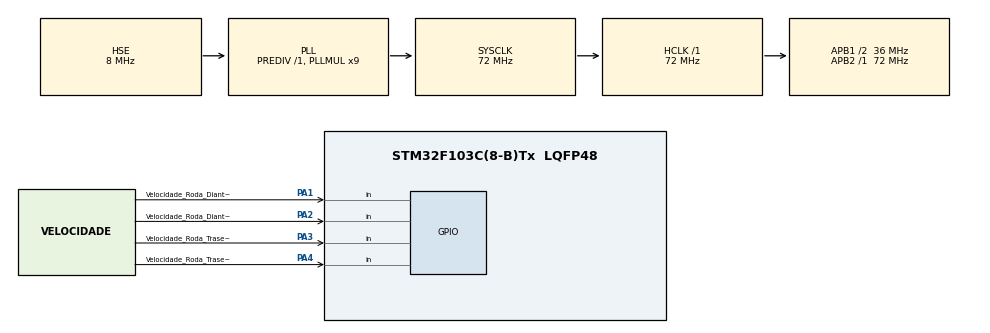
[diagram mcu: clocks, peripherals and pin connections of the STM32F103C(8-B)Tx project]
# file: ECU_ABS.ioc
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Mcu.Family=STM32F1
Mcu.Name=STM32F103C(8-B)Tx
Mcu.Package=LQFP48
NVIC.PriorityGroup=NVIC_PRIORITYGROUP_4
PA0-WKUP.GPIO_Label=PWM
PA0-WKUP.Signal=S_TIM2_CH1_ETR
PA1.GPIO_Label=Velocidade_Roda_Dianteira_Esq
PA1.GPIO_PuPd=GPIO_PULLUP
PA1.Signal=GPIO_Input
PA13.Mode=Serial_Wire
PA13.Signal=SYS_JTMS-SWDIO
PA14.Mode=Serial_Wire
PA14.Signal=SYS_JTCK-SWCLK
PA2.GPIO_Label=Velocidade_Roda_Dianteira_Dir
PA2.GPIO_PuPd=GPIO_PULLUP
PA2.Signal=GPIO_Input
PA3.GPIO_Label=Velocidade_Roda_Traseira_Esq
PA3.GPIO_PuPd=GPIO_PULLUP
PA3.Signal=GPIO_Input
PA4.GPIO_Label=Velocidade_Roda_Traseira_Dir
PA4.GPIO_PuPd=GPIO_PULLUP
PA4.Signal=GPIO_Input
PD0-OSC_IN.Mode=HSE-External-Oscillator
PD0-OSC_IN.Signal=RCC_OSC_IN
PD1-OSC_OUT.Mode=HSE-External-Oscillator
PD1-OSC_OUT.Signal=RCC_OSC_OUT
ProjectManager.HeapSize=0x200
ProjectManager.StackSize=0x400
ProjectManager.TargetToolchain=STM32CubeIDE
RCC.AHBFreq_Value=72000000
RCC.APB1CLKDivider=RCC_HCLK_DIV2
RCC.APB1Freq_Value=36000000
RCC.APB1TimFreq_Value=72000000
RCC.APB2Freq_Value=72000000
RCC.APB2TimFreq_Value=72000000
RCC.HCLKFreq_Value=72000000
RCC.PLLMUL=RCC_PLL_MUL9
RCC.PLLSourceVirtual=RCC_PLLSOURCE_HSE
RCC.SYSCLKFreq_VALUE=72000000
RCC.SYSCLKSource=RCC_SYSCLKSOURCE_PLLCLK
RCC.USBFreq_Value=72000000
SH.S_TIM2_CH1_ETR.0=TIM2_CH1
TIM2.Period=49
TIM2.Prescaler=7199
VP_TIM2_VS_ClockSourceINT.Mode=Internal
board=custom

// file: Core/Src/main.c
/* USER CODE BEGIN Header */
/**
  ******************************************************************************
  * @file           : main.c
  * @brief          : Main program body
  ******************************************************************************
  * @attention
  *
  * Copyright (c) 2025 STMicroelectronics.
  * All rights reserved.
  *
  * This software is licensed under terms that can be found in the LICENSE file
  * in the root directory of this software component.
  * If no LICENSE file comes with this software, it is provided AS-IS.
  *
  ******************************************************************************
  */
/* USER CODE END Header */
#include "main.h"

TIM_HandleTypeDef htim2;

/* USER CODE BEGIN PV */
/* USER CODE BEGIN PV */
float velocidade_roda[4];
float velocidade_veiculo;
float slip[4];
int ativar_abs = 0;
uint32_t pwm_duty_cycle;
/* USER CODE END PV */

void SystemClock_Config(void);
static void MX_GPIO_Init(void);
static void MX_TIM2_Init(void);

int main(void)
{

  /* MCU Configuration--------------------------------------------------------*/

  /* Reset of all peripherals, Initializes the Flash interface and the Systick. */
  HAL_Init();

  /* Configure the system clock */
  SystemClock_Config();

  /* Initialize all configured peripherals */
  MX_GPIO_Init();
  MX_TIM2_Init();
  /* USER CODE BEGIN 2 */
  /* USER CODE BEGIN 2 */
  HAL_TIM_PWM_Start(&htim2, TIM_CHANNEL_1);
  // Configura o duty cycle inicial para 90% (pressão normal)
  // O valor 45 e 15 e baseado em um periodo de 50.
  __HAL_TIM_SET_COMPARE(&htim2, TIM_CHANNEL_1, 45);
  /* USER CODE END 2 */

  /* Infinite loop */

  /* USER CODE BEGIN WHILE */
  while (1)
  {
      // --- Leitura das entradas dos botões usando os nomes gerados pelo CubeIDE ---
      GPIO_PinState estado_roda_de = HAL_GPIO_ReadPin(Velocidade_Roda_Dianteira_Esq_GPIO_Port, Velocidade_Roda_Dianteira_Esq_Pin);
      GPIO_PinState estado_roda_dd = HAL_GPIO_ReadPin(Velocidade_Roda_Dianteira_Dir_GPIO_Port, Velocidade_Roda_Dianteira_Dir_Pin);
      GPIO_PinState estado_roda_te = HAL_GPIO_ReadPin(Velocidade_Roda_Traseira_Esq_GPIO_Port, Velocidade_Roda_Traseira_Esq_Pin);
      GPIO_PinState estado_roda_td = HAL_GPIO_ReadPin(Velocidade_Roda_Traseira_Dir_GPIO_Port, Velocidade_Roda_Traseira_Dir_Pin);

      // --- Ativação do ABS (Lógica OR) ---
      int ativar_abs = 0;
      if (estado_roda_de == GPIO_PIN_RESET ||
          estado_roda_dd == GPIO_PIN_RESET ||
          estado_roda_te == GPIO_PIN_RESET ||
          estado_roda_td == GPIO_PIN_RESET)
      {
          ativar_abs = 1;
      }

      // --- Controle PWM da Válvula de Freio ---
      uint32_t pwm_duty_cycle;
      if (ativar_abs == 1) {
          pwm_duty_cycle = 15; // 30% de 50 (periodo)
      } else {
          pwm_duty_cycle = 45; // 90% de 50 (periodo)
      }

      // Atualiza o duty cycle do timer PWM
      __HAL_TIM_SET_COMPARE(&htim2, TIM_CHANNEL_1, pwm_duty_cycle);

      HAL_Delay(100);
  /* USER CODE END WHILE */
  }
  /* USER CODE END 3 */
}

void SystemClock_Config(void)
{
  RCC_OscInitTypeDef RCC_OscInitStruct = {0};
  RCC_ClkInitTypeDef RCC_ClkInitStruct = {0};

  /** Initializes the RCC Oscillators according to the specified parameters
  * in the RCC_OscInitTypeDef structure.
  */
  RCC_OscInitStruct.OscillatorType = RCC_OSCILLATORTYPE_HSE;
  RCC_OscInitStruct.HSEState = RCC_HSE_ON;
  RCC_OscInitStruct.HSEPredivValue = RCC_HSE_PREDIV_DIV1;
  RCC_OscInitStruct.HSIState = RCC_HSI_ON;
  RCC_OscInitStruct.PLL.PLLState = RCC_PLL_ON;
  RCC_OscInitStruct.PLL.PLLSource = RCC_PLLSOURCE_HSE;
  RCC_OscInitStruct.PLL.PLLMUL = RCC_PLL_MUL9;
  if (HAL_RCC_OscConfig(&RCC_OscInitStruct) != HAL_OK)
  {
    Error_Handler();
  }

  /** Initializes the CPU, AHB and APB buses clocks
  */
  RCC_ClkInitStruct.ClockType = RCC_CLOCKTYPE_HCLK|RCC_CLOCKTYPE_SYSCLK
                              |RCC_CLOCKTYPE_PCLK1|RCC_CLOCKTYPE_PCLK2;
  RCC_ClkInitStruct.SYSCLKSource = RCC_SYSCLKSOURCE_PLLCLK;
  RCC_ClkInitStruct.AHBCLKDivider = RCC_SYSCLK_DIV1;
  RCC_ClkInitStruct.APB1CLKDivider = RCC_HCLK_DIV2;
  RCC_ClkInitStruct.APB2CLKDivider = RCC_HCLK_DIV1;

  if (HAL_RCC_ClockConfig(&RCC_ClkInitStruct, FLASH_LATENCY_2) != HAL_OK)
  {
    Error_Handler();
  }
}

static void MX_TIM2_Init(void)
{

  TIM_ClockConfigTypeDef sClockSourceConfig = {0};
  TIM_MasterConfigTypeDef sMasterConfig = {0};

  htim2.Instance = TIM2;
  htim2.Init.Prescaler = 7199;
  htim2.Init.CounterMode = TIM_COUNTERMODE_UP;
  htim2.Init.Period = 49;
  htim2.Init.ClockDivision = TIM_CLOCKDIVISION_DIV1;
  htim2.Init.AutoReloadPreload = TIM_AUTORELOAD_PRELOAD_DISABLE;
  if (HAL_TIM_Base_Init(&htim2) != HAL_OK)
  {
    Error_Handler();
  }
  sClockSourceConfig.ClockSource = TIM_CLOCKSOURCE_INTERNAL;
  if (HAL_TIM_ConfigClockSource(&htim2, &sClockSourceConfig) != HAL_OK)
  {
    Error_Handler();
  }
  sMasterConfig.MasterOutputTrigger = TIM_TRGO_RESET;
  sMasterConfig.MasterSlaveMode = TIM_MASTERSLAVEMODE_DISABLE;
  if (HAL_TIMEx_MasterConfigSynchronization(&htim2, &sMasterConfig) != HAL_OK)
  {
    Error_Handler();
  }

}

static void MX_GPIO_Init(void)
{
  GPIO_InitTypeDef GPIO_InitStruct = {0};

  /* GPIO Ports Clock Enable */
  __HAL_RCC_GPIOD_CLK_ENABLE();
  __HAL_RCC_GPIOA_CLK_ENABLE();

  /*Configure GPIO pins : Velocidade_Roda_Dianteira_Esq_Pin Velocidade_Roda_Dianteira_Dir_Pin Velocidade_Roda_Traseira_Esq_Pin Velocidade_Roda_Traseira_Dir_Pin */
  GPIO_InitStruct.Pin = Velocidade_Roda_Dianteira_Esq_Pin|Velocidade_Roda_Dianteira_Dir_Pin|Velocidade_Roda_Traseira_Esq_Pin|Velocidade_Roda_Traseira_Dir_Pin;
  GPIO_InitStruct.Mode = GPIO_MODE_INPUT;
  GPIO_InitStruct.Pull = GPIO_PULLUP;
  HAL_GPIO_Init(GPIOA, &GPIO_InitStruct);

}

void Error_Handler(void)
{
  __disable_irq();
  while (1)
  {
  }
}
